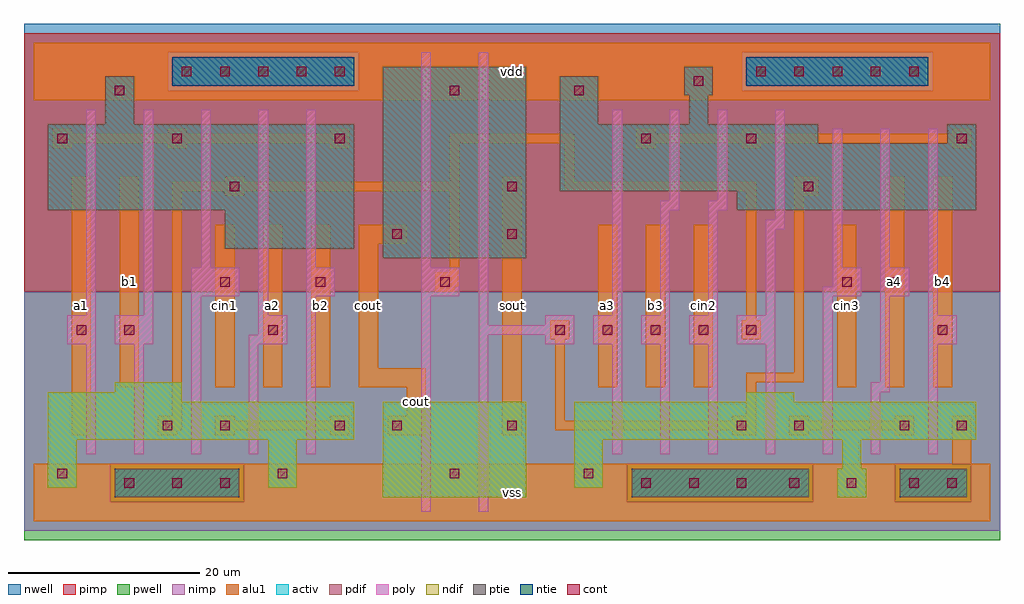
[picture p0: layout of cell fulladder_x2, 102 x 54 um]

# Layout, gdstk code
import gdstk
lib = gdstk.Library(unit=1e-6, precision=1e-09)
def R(c, l, rs):  # rectangles x0, y0, x1, y1
    for r in rs: c.add(gdstk.rectangle(r[:2], r[2:], *l))
def A(c, l, x, y, w, h, nx, ny, dx, dy):  # array of equal rectangles
    R(c, l, [(x+i*dx, y+j*dy, x+i*dx+w, y+j*dy+h) for i in range(nx) for j in range(ny)])
ndif = (3, 0)
pdif = (4, 0)
ntie = (5, 0)
ptie = (6, 0)
cont = (25, 0)
pwell = (41, 0)
nwell = (42, 0)
activ = (43, 0)
pimp = (44, 0)
nimp = (45, 0)
poly = (46, 0)
alu1 = (49, 0)

fulladder_x2 = lib.new_cell('fulladder_x2')
R(fulladder_x2, ndif, [(36.5,2.5,51.5,12.5), (84,2.5,87,5.5), (1.5,3.5,4.5,8.5), (24.5,3.5,27.5,8.5), (56.5,3.5,59.5,8.5), (84.5,5.5,86.5,8.5), (1.5,8.5,33.5,12.5), (56.5,8.5,98.5,12.5), (1.5,12.5,15.5,13.5), (74.5,12.5,79.5,13.5), (8.5,13.5,15.5,14.5)])
R(fulladder_x2, pdif, [(36.5,27.5,51.5,47.5), (20,28.5,33.5,32.5), (1.5,32.5,33.5,41.5), (73.5,32.5,98.5,34.5), (55,34.5,98.5,39.5), (55,39.5,82,41.5), (95.5,39.5,98.5,41.5), (7.5,41.5,10.5,46.5), (55,41.5,59,46.5), (68.5,41.5,70.5,44.5), (68,44.5,71,47.5)])
R(fulladder_x2, ntie, [(14.5,45.5,33.5,48.5), (74.5,45.5,93.5,48.5)])
R(fulladder_x2, ptie, [(8.5,2.5,21.5,5.5), (62.5,2.5,81,5.5), (90.5,2.5,97.5,5.5)])
A(fulladder_x2, cont, 9.5, 3.5, 1, 1, 3, 1, 5, 0)
A(fulladder_x2, cont, 63.5, 3.5, 1, 1, 3, 1, 5, 0)
A(fulladder_x2, cont, 54.5, 19.5, 1, 1, 5, 1, 5, 0)
A(fulladder_x2, cont, 15.5, 46.5, 1, 1, 5, 1, 4, 0)
A(fulladder_x2, cont, 75.5, 46.5, 1, 1, 5, 1, 4, 0)
R(fulladder_x2, cont, [(79,3.5,80,4.5), (85,3.5,86,4.5), (91.5,3.5,92.5,4.5), (95.5,3.5,96.5,4.5), (2.5,4.5,3.5,5.5), (25.5,4.5,26.5,5.5), (43.5,4.5,44.5,5.5), (57.5,4.5,58.5,5.5), (13.5,9.5,14.5,10.5), (19.5,9.5,20.5,10.5), (31.5,9.5,32.5,10.5), (37.5,9.5,38.5,10.5), (49.5,9.5,50.5,10.5), (73.5,9.5,74.5,10.5), (79.5,9.5,80.5,10.5), (90.5,9.5,91.5,10.5), (96.5,9.5,97.5,10.5), (4.5,19.5,5.5,20.5), (9.5,19.5,10.5,20.5), (24.5,19.5,25.5,20.5), (94.5,19.5,95.5,20.5), (19.5,24.5,20.5,25.5), (29.5,24.5,30.5,25.5), (42.5,24.5,43.5,25.5), (84.5,24.5,85.5,25.5), (89.5,24.5,90.5,25.5), (37.5,29.5,38.5,30.5), (49.5,29.5,50.5,30.5), (20.5,34.5,21.5,35.5), (49.5,34.5,50.5,35.5), (80.5,34.5,81.5,35.5), (2.5,39.5,3.5,40.5), (14.5,39.5,15.5,40.5), (31.5,39.5,32.5,40.5), (63.5,39.5,64.5,40.5), (74.5,39.5,75.5,40.5), (96.5,39.5,97.5,40.5), (8.5,44.5,9.5,45.5), (43.5,44.5,44.5,45.5), (56.5,44.5,57.5,45.5), (69,45.5,70,46.5)])
R(fulladder_x2, pwell, [(-1,-2,101,24)])
R(fulladder_x2, nwell, [(-1,24,101,52)])
R(fulladder_x2, activ, [(8.5,2.5,21.5,5.5), (36.5,2.5,51.5,12.5), (62.5,2.5,81,5.5), (84,2.5,87,5.5), (90.5,2.5,97.5,5.5), (1.5,3.5,4.5,8.5), (24.5,3.5,27.5,8.5), (56.5,3.5,59.5,8.5), (84.5,5.5,86.5,8.5), (1.5,8.5,33.5,12.5), (56.5,8.5,98.5,12.5), (1.5,12.5,15.5,13.5), (74.5,12.5,79.5,13.5), (8.5,13.5,15.5,14.5), (36.5,27.5,51.5,47.5), (20,28.5,33.5,32.5), (1.5,32.5,33.5,41.5), (73.5,32.5,98.5,34.5), (55,34.5,98.5,39.5), (55,39.5,82,41.5), (95.5,39.5,98.5,41.5), (7.5,41.5,10.5,46.5), (55,41.5,59,46.5), (68.5,41.5,70.5,44.5), (68,44.5,71,47.5), (14.5,45.5,33.5,48.5), (74.5,45.5,93.5,48.5)])
R(fulladder_x2, pimp, [(8,2,22,6), (62,2,81.5,6), (90,2,98,6), (-1,24,101,45), (-1,45,14,49), (34,45,74,49), (94,45,101,49), (-1,49,101,51)])
R(fulladder_x2, nimp, [(-1,-1,101,2), (-1,2,8,6), (22,2,62,6), (81.5,2,90,6), (98,2,101,6), (-1,6,101,24), (14,45,34,49), (74,45,94,49)])
A(fulladder_x2, poly, 60.5, 7, 1, 11.5, 3, 1, 5, 0)
A(fulladder_x2, poly, 58.5, 18.5, 3, 3, 3, 1, 5, 0)
R(fulladder_x2, poly, [(40.5,1,41.5,23.5), (46.5,1,47.5,19.5), (5.5,7,6.5,18.5), (10.5,7,11.5,18.5), (16.5,7,17.5,23.5), (22.5,7,23.5,18.5), (28.5,7,29.5,23.5), (76.5,7,77.5,18.5), (82.5,7,83.5,23.5), (87.5,7,88.5,13.5), (93.5,7,94.5,18.5), (87.5,13.5,89.5,14.5), (88.5,14.5,89.5,23.5), (3.5,18.5,6.5,21.5), (8.5,18.5,12.5,21.5), (22.5,18.5,26.5,19.5), (53.5,18.5,56.5,19.5), (73.5,18.5,77.5,21.5), (93.5,18.5,96.5,21.5), (23.5,19.5,26.5,21.5), (46.5,19.5,56.5,20.5), (46.5,20.5,47.5,49), (53.5,20.5,56.5,21.5), (5.5,21.5,6.5,43), (11.5,21.5,12.5,43), (23.5,21.5,24.5,43), (60.5,21.5,61.5,43), (65.5,21.5,66.5,32.5), (70.5,21.5,71.5,32.5), (76.5,21.5,77.5,30.5), (93.5,21.5,94.5,41), (16.5,23.5,21.5,26.5), (28.5,23.5,31.5,26.5), (40.5,23.5,44.5,26.5), (82.5,23.5,86.5,24.5), (88.5,23.5,91.5,26.5), (83.5,24.5,86.5,26.5), (17.5,26.5,18.5,43), (28.5,26.5,29.5,43), (40.5,26.5,41.5,49), (83.5,26.5,84.5,41), (88.5,26.5,89.5,41), (76.5,30.5,78.5,31.5), (77.5,31.5,78.5,43), (65.5,32.5,67.5,33.5), (70.5,32.5,72.5,33.5), (66.5,33.5,67.5,43), (71.5,33.5,72.5,43)])
A(fulladder_x2, alu1, 19, 14, 2, 17, 3, 1, 5, 0)
A(fulladder_x2, alu1, 59, 14, 2, 17, 3, 1, 5, 0)
R(fulladder_x2, alu1, [(0,0,100,6), (96,6,98,11), (4,9,6,36), (13,9,15,9.5), (19,9,21,9.5), (31,9,33,9.5), (37,9,41,11), (49,9,51,36), (73,9,75.5,9.5), (79,9,81,9.5), (90,9,92,9.5), (13,9.5,15.5,11), (19,9.5,33,10.5), (54.5,9.5,75.5,10.5), (79,9.5,92,10.5), (19,10.5,21,11), (31,10.5,33,11), (54.5,10.5,55.5,19), (73,10.5,75.5,11), (79,10.5,81,11), (90,10.5,92,11), (14.5,11,15.5,34.5), (39,11,41,14), (74.5,11,75.5,14.5), (9,14,11,36), (34,14,41,16), (84,14,86,31), (89,14,91,36), (94,14,96,36), (74.5,14.5,80.5,15.5), (79.5,15.5,80.5,34), (34,16,36,29), (54,19,56,21), (74,19,76,21), (74.5,21,75.5,34.5), (42,24,44,24.5), (42,24.5,44.5,26), (43.5,26,44.5,34.5), (34,29,39,31), (20,34,22,34.5), (79.5,34,82,36), (14.5,34.5,44.5,35.5), (55.5,34.5,75.5,35.5), (20,35.5,22,36), (43.5,35.5,44.5,39.5), (55.5,35.5,56.5,39.5), (2,39,4,39.5), (14,39,16,39.5), (31,39,33,39.5), (63,39,65,39.5), (74,39,76,39.5), (96,39,98,39.5), (2,39.5,33,40.5), (43.5,39.5,56.5,40.5), (63,39.5,98,40.5), (2,40.5,4,41), (14,40.5,16,41), (31,40.5,33,41), (63,40.5,65,41), (74,40.5,76,41), (96,40.5,98,41), (0,44,100,50)])
fulladder_x2.add(gdstk.Label('a1', (5,22.5), layer=49, texttype=0))
fulladder_x2.add(gdstk.Label('b1', (10,25), layer=49, texttype=0))
fulladder_x2.add(gdstk.Label('b2', (30,22.5), layer=49, texttype=0))
fulladder_x2.add(gdstk.Label('a2', (25,22.5), layer=49, texttype=0))
fulladder_x2.add(gdstk.Label('cout', (35,22.5), layer=49, texttype=0))
fulladder_x2.add(gdstk.Label('cin1', (20,22.5), layer=49, texttype=0))
fulladder_x2.add(gdstk.Label('vss', (50,3), layer=49, texttype=0))
fulladder_x2.add(gdstk.Label('cout', (40,12.5), layer=49, texttype=0))
fulladder_x2.add(gdstk.Label('sout', (50,22.5), layer=49, texttype=0))
fulladder_x2.add(gdstk.Label('vdd', (50,47), layer=49, texttype=0))
fulladder_x2.add(gdstk.Label('cin2', (70,22.5), layer=49, texttype=0))
fulladder_x2.add(gdstk.Label('b3', (65,22.5), layer=49, texttype=0))
fulladder_x2.add(gdstk.Label('a3', (60,22.5), layer=49, texttype=0))
fulladder_x2.add(gdstk.Label('cin3', (85,22.5), layer=49, texttype=0))
fulladder_x2.add(gdstk.Label('a4', (90,25), layer=49, texttype=0))
fulladder_x2.add(gdstk.Label('b4', (95,25), layer=49, texttype=0))

lib.write_gds('fulladder_x2.gds')
